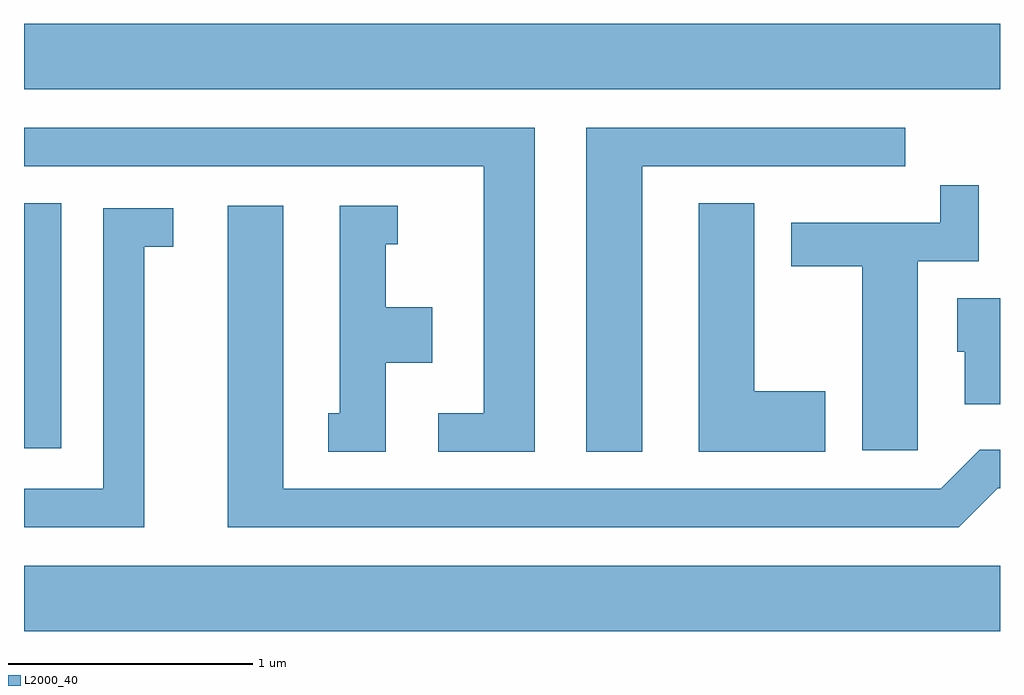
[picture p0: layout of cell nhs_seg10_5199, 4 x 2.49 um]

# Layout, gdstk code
import gdstk
lib = gdstk.Library(unit=1e-6, precision=1e-09)
def R(c, l, rs):  # rectangles x0, y0, x1, y1
    for r in rs: c.add(gdstk.rectangle(r[:2], r[2:], *l))
def P(c, l, *ps):  # polygons
    for p in ps: c.add(gdstk.Polygon(p, *l))
L2000_40 = (2000, 40)

nhs_seg10_5199 = lib.new_cell('nhs_seg10_5199')
R(nhs_seg10_5199, L2000_40, [(337.611,2189.396,341.611,2189.664), (337.611,2190.146,337.764,2191.149), (337.611,2191.616,341.611,2191.884)])
P(nhs_seg10_5199, L2000_40, [(340.144,2191.301),(341.223,2191.301),(341.223,2191.459),(339.916,2191.459),(339.916,2190.131),(340.144,2190.131)],
  [(339.704,2191.459),(337.611,2191.459),(337.611,2191.301),(339.496,2191.301),(339.496,2190.289),(339.308,2190.289),(339.308,2190.131),(339.704,2190.131)],
  [(341.274,2190.911),(341.524,2190.911),(341.524,2191.223),(341.366,2191.223),(341.366,2191.069),(340.756,2191.069),(340.756,2190.891),(341.046,2190.891),(341.046,2190.136),(341.274,2190.136)],
  [(340.894,2190.379),(340.604,2190.379),(340.604,2191.149),(340.376,2191.149),(340.376,2190.131),(340.894,2190.131)],
  [(341.602,2189.981),(341.611,2189.981),(341.611,2190.139),(341.529,2190.139),(341.369,2189.979),(338.674,2189.979),(338.674,2191.139),(338.446,2191.139),(338.446,2189.821),(341.442,2189.821)],
  [(339.094,2190.496),(339.284,2190.496),(339.284,2190.724),(339.094,2190.724),(339.094,2190.981),(339.143,2190.981),(339.143,2191.139),(338.906,2191.139),(338.906,2190.289),(338.858,2190.289),(338.858,2190.131),(339.094,2190.131)],
  [(338.104,2190.971),(338.223,2190.971),(338.223,2191.129),(337.936,2191.129),(337.936,2189.979),(337.611,2189.979),(337.611,2189.821),(338.104,2189.821)],
  [(341.611,2190.759),(341.436,2190.759),(341.436,2190.541),(341.466,2190.541),(341.466,2190.326),(341.611,2190.326)])

lib.write_gds('nhs_seg10_5199.gds')
